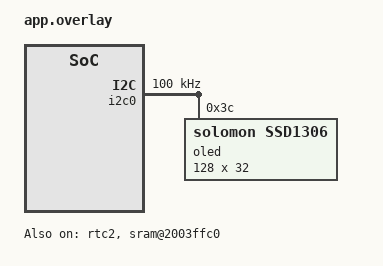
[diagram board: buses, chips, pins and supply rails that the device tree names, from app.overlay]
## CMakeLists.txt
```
cmake_minimum_required(VERSION 3.20.0)

find_package(Zephyr REQUIRED HINTS $ENV{ZEPHYR_BASE})
project(nrfnode)

target_sources(app PRIVATE
  src/main.cpp
  src/button_handler.cpp
  src/rtc_clock.cpp
  src/alarm.cpp
  src/storage.cpp
  src/devices.cpp
)

target_include_directories(app PRIVATE src)
```

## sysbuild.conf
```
# Aktiverar MCUboot som bootloader-image via sysbuild, förberett för
# framtida FOTA. Applikationens image blir signerad/swap-baserad från start.
SB_CONFIG_BOOTLOADER_MCUBOOT=y
```

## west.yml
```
# West manifest for this freestanding NCS application.
# Pinned to the latest stable NCS release selected for this workspace.
manifest:
  remotes:
    - name: ncs
      url-base: https://github.com/nrfconnect

  projects:
    - name: nrf
      remote: ncs
      repo-path: sdk-nrf
      revision: v3.4.0
      import: true
```

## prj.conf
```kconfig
# --- Knappar ---
CONFIG_GPIO=y
CONFIG_DK_LIBRARY=y

# --- I2C (PAN1780 OLED bring-up) ---
CONFIG_I2C=y
CONFIG_DISPLAY=y
CONFIG_SSD1306=y
CONFIG_CHARACTER_FRAMEBUFFER=y
CONFIG_HEAP_MEM_POOL_SIZE=2048

# --- RTC (klocka) ---
CONFIG_COUNTER=y
CONFIG_EVENTS=y

# --- Alarm (lagras i flash via NVS) ---
CONFIG_FLASH=y
CONFIG_FLASH_MAP=y
CONFIG_FLASH_PAGE_LAYOUT=y
CONFIG_NVS=y
CONFIG_SETTINGS=y
CONFIG_SETTINGS_NVS=y
CONFIG_MAIN_STACK_SIZE=4096
CONFIG_RETAINED_MEM=y
CONFIG_CRC=y

# --- Loggning / debug ---
CONFIG_SERIAL=y
CONFIG_CONSOLE=y
CONFIG_UART_CONSOLE=y
CONFIG_PRINTK=y
CONFIG_LOG=y
CONFIG_LOG_BACKEND_UART=y
CONFIG_LOG_BACKEND_UART_AUTOSTART=y
CONFIG_ASSERT=y
CONFIG_CHARACTER_FRAMEBUFFER_USE_DEFAULT_FONTS=n
```

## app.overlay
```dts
#include <zephyr/dt-bindings/i2c/i2c.h>

&i2c0 {
	status = "okay";
	clock-frequency = <I2C_BITRATE_STANDARD>;

	oled: ssd1306@3c {
		compatible = "solomon,ssd1306";
		reg = <0x3c>;
		width = <128>;
		height = <32>;
		segment-offset = <0>;
		page-offset = <0>;
		display-offset = <0>;
		multiplex-ratio = <31>;
		segment-remap;
		com-invdir;
		com-sequential;
		prechargep = <0x22>;
	};
};

&sram0 {
	reg = <0x20000000 DT_SIZE_K(252)>;
};

/ {
	sram@2003ffc0 {
		compatible = "zephyr,memory-region", "mmio-sram";
		reg = <0x2003ffc0 0x40>;
		ranges = <0x0 0x2003ffc0 0x40>;
		zephyr,memory-region = "RetainedMem";
		status = "okay";
		#address-cells = <1>;
		#size-cells = <1>;

		retainedmem0: retainedmem {
			compatible = "zephyr,retained-ram";
			status = "okay";
			ranges;
			#address-cells = <1>;
			#size-cells = <1>;
		};
	};
};

&rtc2 {
	status = "okay";
};

/ {
	chosen {
		zephyr,display = &oled;
	};
};
```

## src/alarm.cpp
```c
#include "alarm.h"

#include "storage.h"

#include <cerrno>

namespace {

constexpr uint16_t kNvsId = 1;
constexpr uint16_t kNvsDefaultModeId = 2;
constexpr uint32_t kSecondsPerDay = 86400U;

bool g_loaded;
Alarm g_alarms[kAlarmCount];

bool Valid(const Alarm &alarm)
{
	return alarm.hour < 24 && alarm.minute < 60 && (alarm.days & ~kAlarmAllDays) == 0 &&
	       alarm.enabled <= 1;
}

void SetDefaults()
{
	for (Alarm &alarm : g_alarms) {
		alarm = {7, 0, 0x1F, 0}; // 07:00 måndag-fredag, avstängt
	}
}

} // namespace

int AlarmsInit()
{
	SetDefaults();

	const int err = StorageInit();

	if (err) {
		return err;
	}

	Alarm stored[kAlarmCount];
	const int read = StorageRead(kNvsId, stored, sizeof(stored));

	if (read == static_cast<int>(sizeof(stored))) {
		bool all_valid = true;

		for (const Alarm &alarm : stored) {
			all_valid = all_valid && Valid(alarm);
		}
		if (all_valid) {
			for (int i = 0; i < kAlarmCount; i++) {
				g_alarms[i] = stored[i];
			}
			g_loaded = true;
		}
	}

	return 0;
}

bool AlarmsWereLoaded()
{
	return g_loaded;
}

Alarm *AlarmAt(int index)
{
	return &g_alarms[index];
}

int AlarmsSave()
{
	return StorageWrite(kNvsId, g_alarms, sizeof(g_alarms));
}

int NvsReadBlob(uint16_t id, void *data, size_t len)
{
	return StorageRead(id, data, len);
}

int NvsWriteBlob(uint16_t id, const void *data, size_t len)
{
	return StorageWrite(id, data, len);
}

uint8_t DefaultModeLoad()
{
	uint8_t mode = 0;

	if (StorageRead(kNvsDefaultModeId, &mode, sizeof(mode)) != static_cast<int>(sizeof(mode))) {
		return 0;
	}

	return mode;
}

int DefaultModeSave(uint8_t mode)
{
	return StorageWrite(kNvsDefaultModeId, &mode, sizeof(mode));
}

int AlarmsMatch(uint32_t unix_time)
{
	const uint32_t tod = unix_time % kSecondsPerDay;
	const unsigned int hour = tod / 3600U;
	const unsigned int minute = (tod / 60U) % 60U;
	// 1970-01-01 var en torsdag; 0 = måndag.
	const unsigned int weekday = (unix_time / kSecondsPerDay + 3U) % 7U;

	for (int i = 0; i < kAlarmCount; i++) {
		const Alarm &alarm = g_alarms[i];

		if (alarm.enabled && alarm.hour == hour && alarm.minute == minute &&
		    (alarm.days & (1U << weekday))) {
			return i;
		}
	}

	return -1;
}
```

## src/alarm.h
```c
#pragma once

#include <cstddef>
#include <cstdint>

constexpr int kAlarmCount = 5;

struct Alarm {
	uint8_t hour;    // 0-23
	uint8_t minute;  // 0-59
	uint8_t days;    // bit 0 = måndag ... bit 6 = söndag
	uint8_t enabled; // 0 eller 1
};

constexpr uint8_t kAlarmAllDays = 0x7F;

// Monterar NVS i storage-partitionen och läser alarmen.
// Returnerar 0 vid lyckad montering; vid tomt/ogiltigt innehåll används standardvärden.
int AlarmsInit();

// Sant om alarmen lästes från flash i stället för att standardvärden användes.
bool AlarmsWereLoaded();

// Pekare till alarm 0..kAlarmCount-1 som kan ändras direkt.
Alarm *AlarmAt(int index);

// Skriver alarmen till flash. NVS skriver inget om innehållet är oförändrat,
// så anropet kan göras utan att slita på flashen. Returnerar 0 eller negativ errno.
int AlarmsSave();

// Första aktiva alarm (index) som matchar tid och veckodag, annars -1.
int AlarmsMatch(uint32_t unix_time);

// Rå läs/skriv mot samma NVS för andra moduler. Returnerar antal bytes (läs), 0 (skriv) eller negativ errno.
int NvsReadBlob(uint16_t id, void *data, size_t len);
int NvsWriteBlob(uint16_t id, const void *data, size_t len);

// Standardvisningsläget lagras i samma NVS. Load returnerar 0 om inget sparats.
uint8_t DefaultModeLoad();
int DefaultModeSave(uint8_t mode);
```

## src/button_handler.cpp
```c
#include "button_handler.h"

#include <dk_buttons_and_leds.h>
#include <zephyr/logging/log.h>

LOG_MODULE_REGISTER(button_handler, LOG_LEVEL_INF);

namespace {
ButtonStateChangedCallback g_callback;
uint8_t g_state;
struct button_handler g_button_handler = {};

void OnButtonChanged(uint32_t button_state, uint32_t has_changed)
{
	// dk_buttons_and_leds mappar knapp N till bit N, i linje med
	// pan1780_evb-aliasen sw0..sw3 och led0..led3.
	g_state = static_cast<uint8_t>(button_state & 0x0F);

	const int err = dk_set_leds(g_state);
	if (err) {
		LOG_ERR("dk_set_leds failed (err %d)", err);
	}

	if (g_callback && (has_changed & 0x0F)) {
		g_callback(g_state);
	}
}
} // namespace

int ButtonHandlerInit(ButtonStateChangedCallback callback)
{
	g_callback = callback;

	int err = dk_leds_init();
	if (err) {
		return err;
	}

	err = dk_set_leds(0);
	if (err) {
		return err;
	}

	return dk_buttons_init(OnButtonChanged);
}

int ButtonHandlerAttach(ButtonStateChangedCallback callback)
{
	g_callback = callback;
	g_button_handler.cb = OnButtonChanged;
	dk_button_handler_add(&g_button_handler);

	int err = dk_leds_init();
	if (err) {
		LOG_ERR("dk_leds_init failed (err %d)", err);
		return err;
	}

	err = dk_set_leds(0);
	if (err) {
		LOG_ERR("dk_set_leds failed (err %d)", err);
	}

	return err;
}

uint8_t ButtonHandlerGetState()
{
	return g_state;
}
```

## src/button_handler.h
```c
#pragma once

#include <cstdint>

// Antal fysiska knappar på PAN1780 EVK.
constexpr uint8_t kButtonCount = 4;

// Callback som anropas varje gång knapp-bitmasken ändras.
// Bit N (0-3) = knapp N+1, 1 = intryckt.
using ButtonStateChangedCallback = void (*)(uint8_t bitmask);

// Initierar GPIO-callbacks för de 4 knapparna på EVK:t.
// Returnerar 0 vid lyckad initiering, annars en negativ errno-kod.
int ButtonHandlerInit(ButtonStateChangedCallback callback);

// Registers the callback after the Matter board has initialized DK buttons and LEDs.
int ButtonHandlerAttach(ButtonStateChangedCallback callback);

// Läser nuvarande bitmask (t.ex. för att skicka initial status).
uint8_t ButtonHandlerGetState();
```

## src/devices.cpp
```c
#include "devices.h"

#include "alarm.h"
#include "rtc_clock.h"
#include "storage.h"

#include <cerrno>
#include <cstring>

#include <zephyr/drivers/retained_mem.h>
#include <zephyr/kernel.h>
#include <zephyr/sys/crc.h>
#include <zephyr/sys/printk.h>

namespace {

constexpr uint16_t kNvsDevicesId = 3;
// Offset 0..11 används av rtc_clock.
constexpr size_t kSensorRetainedOffset = 16;
constexpr size_t kCodeSize = kPairingCodeDigits + 1;
constexpr uint32_t kSensorSnapshotMagic = 0x534E5331U;
constexpr uint32_t kSensorStaleSeconds = 15U * 60U;

char g_codes[kDeviceCount][kCodeSize];

struct SensorSnapshot {
	uint32_t magic;
	int16_t temperature_centi;
	uint16_t humidity_centi;
	uint32_t temperature_timestamp;
	uint32_t humidity_timestamp;
	uint8_t valid;
	uint8_t reserved[3];
};

// Senaste värdet ligger bara i retained RAM (överlever reset, aldrig flash).
struct RetainedSensor {
	SensorSnapshot snapshot;
	uint32_t crc;
};

const struct device *const kRetained = DEVICE_DT_GET(DT_NODELABEL(retainedmem0));

uint32_t SensorCrc(const SensorSnapshot &snapshot)
{
	return crc32_ieee(reinterpret_cast<const uint8_t *>(&snapshot), sizeof(snapshot));
}

SensorSnapshot g_sensor = {kSensorSnapshotMagic, 0, 0, 0, 0, 0, {0, 0, 0}};
K_MUTEX_DEFINE(g_sensor_mutex);

const uint8_t kD[10][10] = {
	{0, 1, 2, 3, 4, 5, 6, 7, 8, 9}, {1, 2, 3, 4, 0, 6, 7, 8, 9, 5},
	{2, 3, 4, 0, 1, 7, 8, 9, 5, 6}, {3, 4, 0, 1, 2, 8, 9, 5, 6, 7},
	{4, 0, 1, 2, 3, 9, 5, 6, 7, 8}, {5, 9, 8, 7, 6, 0, 4, 3, 2, 1},
	{6, 5, 9, 8, 7, 1, 0, 4, 3, 2}, {7, 6, 5, 9, 8, 2, 1, 0, 4, 3},
	{8, 7, 6, 5, 9, 3, 2, 1, 0, 4}, {9, 8, 7, 6, 5, 4, 3, 2, 1, 0}};

const uint8_t kP[8][10] = {
	{0, 1, 2, 3, 4, 5, 6, 7, 8, 9}, {1, 5, 7, 6, 2, 8, 3, 0, 9, 4},
	{5, 8, 0, 3, 7, 9, 6, 1, 4, 2}, {8, 9, 1, 6, 0, 4, 3, 5, 2, 7},
	{9, 4, 5, 3, 1, 2, 6, 8, 7, 0}, {4, 2, 8, 6, 5, 7, 3, 9, 0, 1},
	{2, 7, 9, 3, 8, 0, 6, 4, 1, 5}, {7, 0, 4, 6, 9, 1, 3, 2, 5, 8}};

}

bool PairingCodeValid(const char *code)
{
	if (strlen(code) != kPairingCodeDigits) {
		return false;
	}

	uint8_t check = 0;
	bool all_zero = true;

	for (int i = 0; i < kPairingCodeDigits; i++) {
		const char c = code[kPairingCodeDigits - 1 - i];

		if (c < '0' || c > '9') {
			return false;
		}
		all_zero = all_zero && c == '0';
		check = kD[check][kP[i % 8][c - '0']];
	}

	// Koder utan VID/PID har första siffran 0-3.
	return check == 0 && !all_zero && code[0] <= '3';
}

void DevicesInit()
{
	memset(g_codes, 0, sizeof(g_codes));

	char stored[kDeviceCount][kCodeSize];

	if (NvsReadBlob(kNvsDevicesId, stored, sizeof(stored)) == static_cast<int>(sizeof(stored))) {
		for (int i = 0; i < kDeviceCount; i++) {
			stored[i][kCodeSize - 1] = '\0';
			if (PairingCodeValid(stored[i])) {
				memcpy(g_codes[i], stored[i], kCodeSize);
			}
		}
	}

	RetainedSensor retained;
	if (device_is_ready(kRetained) &&
	    retained_mem_read(kRetained, kSensorRetainedOffset,
			      reinterpret_cast<uint8_t *>(&retained), sizeof(retained)) == 0 &&
	    retained.snapshot.magic == kSensorSnapshotMagic &&
	    retained.crc == SensorCrc(retained.snapshot) &&
	    (retained.snapshot.valid & ~0x03U) == 0) {
		const SensorSnapshot &snapshot = retained.snapshot;
		k_mutex_lock(&g_sensor_mutex, K_FOREVER);
		g_sensor = snapshot;
		k_mutex_unlock(&g_sensor_mutex);
		printk("SENSOR cache temp_valid=%u temp_centi=%d temp_timestamp=%u "
		       "humidity_valid=%u humidity_centi=%u humidity_timestamp=%u\r\n",
		       (snapshot.valid & 0x01U) ? 1U : 0U, snapshot.temperature_centi,
		       static_cast<unsigned>(snapshot.temperature_timestamp),
		       (snapshot.valid & 0x02U) ? 1U : 0U,
		       static_cast<unsigned>(snapshot.humidity_centi),
		       static_cast<unsigned>(snapshot.humidity_timestamp));
	}
}

const char *DeviceCode(int slot)
{
	return g_codes[slot];
}

int DeviceCodeSave(int slot, const char *code)
{
	if (slot < 0 || slot >= kDeviceCount || !PairingCodeValid(code)) {
		return -EINVAL;
	}

	char updated[kDeviceCount][kCodeSize];

	memcpy(updated, g_codes, sizeof(updated));
	memcpy(updated[slot], code, kCodeSize);

	const int err = NvsWriteBlob(kNvsDevicesId, updated, sizeof(updated));

	if (err) {
		return err;
	}

	memcpy(g_codes, updated, sizeof(g_codes));
	return 0;
}

bool DeviceCommissioned(int slot)
{
	(void)slot;
	return false;
}

SensorReading SensorGet(int slot, uint32_t unix_time)
{
	(void)slot;
	SensorSnapshot snapshot;
	k_mutex_lock(&g_sensor_mutex, K_FOREVER);
	snapshot = g_sensor;
	k_mutex_unlock(&g_sensor_mutex);

	const bool temperature_valid = (snapshot.valid & 0x01U) != 0;
	const bool humidity_valid = (snapshot.valid & 0x02U) != 0;
	const bool temperature_stale = !temperature_valid ||
		unix_time < snapshot.temperature_timestamp ||
		unix_time - snapshot.temperature_timestamp >= kSensorStaleSeconds;
	const bool humidity_stale = !humidity_valid ||
		unix_time < snapshot.humidity_timestamp ||
		unix_time - snapshot.humidity_timestamp >= kSensorStaleSeconds;
	const int temperature_dc = snapshot.temperature_centi >= 0
		? (snapshot.temperature_centi + 5) / 10
		: (snapshot.temperature_centi - 5) / 10;

	return {static_cast<int16_t>(temperature_dc),
		static_cast<uint8_t>((snapshot.humidity_centi + 50U) / 100U),
		temperature_valid, humidity_valid, temperature_stale, humidity_stale};
}

namespace {

void SaveSensorSnapshot()
{
	SensorSnapshot snapshot;
	k_mutex_lock(&g_sensor_mutex, K_FOREVER);
	snapshot = g_sensor;
	k_mutex_unlock(&g_sensor_mutex);

	RetainedSensor retained = {snapshot, SensorCrc(snapshot)};
	if (!device_is_ready(kRetained) ||
	    retained_mem_write(kRetained, kSensorRetainedOffset,
			       reinterpret_cast<const uint8_t *>(&retained),
			       sizeof(retained)) != 0) {
		printk("ERROR sensor_retain\r\n");
	}
}

} // namespace

void SensorUpdateTemperature(int16_t value_centi, uint32_t timestamp)
{
	k_mutex_lock(&g_sensor_mutex, K_FOREVER);
	if ((g_sensor.valid & 0x01U) != 0 &&
	    g_sensor.temperature_centi == value_centi) {
		g_sensor.temperature_timestamp = timestamp;
	} else {
		g_sensor.temperature_centi = value_centi;
		g_sensor.temperature_timestamp = timestamp;
		g_sensor.valid |= 0x01U;
	}
	k_mutex_unlock(&g_sensor_mutex);
	SaveSensorSnapshot();
}

void SensorUpdateHumidity(uint16_t value_centi, uint32_t timestamp)
{
	k_mutex_lock(&g_sensor_mutex, K_FOREVER);
	if ((g_sensor.valid & 0x02U) != 0 &&
	    g_sensor.humidity_centi == value_centi) {
		g_sensor.humidity_timestamp = timestamp;
	} else {
		g_sensor.humidity_centi = value_centi;
		g_sensor.humidity_timestamp = timestamp;
		g_sensor.valid |= 0x02U;
	}
	k_mutex_unlock(&g_sensor_mutex);
	SaveSensorSnapshot();
}
```

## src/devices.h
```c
#pragma once

#include <cstdint>

constexpr int kDeviceCount = 4;
constexpr int kPairingCodeDigits = 11;

// Matter manuell parningskod: 11 siffror där sista är Verhoeff-kontrollsiffra.
bool PairingCodeValid(const char *code);

// Läser sparade koder ur NVS (efter AlarmsInit). Tomma platser får tom sträng.
void DevicesInit();

// Pekare till platsens kod (NUL-terminerad, 11 siffror eller tom sträng).
const char *DeviceCode(int slot);

// Sparar koden i NVS. Returnerar 0, -EINVAL för ogiltig kod eller negativ errno.
int DeviceCodeSave(int slot, const char *code);

// Sant när enheten är commissionerad (Matter är inte implementerat än, så alltid falskt).
bool DeviceCommissioned(int slot);

struct SensorReading {
	int16_t temperature_dc; // 0,1 °C
	uint8_t humidity_pct;
	bool temperature_valid;
	bool humidity_valid;
	bool temperature_stale;
	bool humidity_stale;
};

// Senaste värdena sparas i en enda settings-post med varsin UTC-tidsstämpel.
// Historiska mätvärden lagras inte.
void SensorUpdateTemperature(int16_t value_centi, uint32_t timestamp);
void SensorUpdateHumidity(uint16_t value_centi, uint32_t timestamp);

// Returnerar senaste cachelagrade värden; de blir stale efter 15 minuter.
SensorReading SensorGet(int slot, uint32_t unix_time);
```

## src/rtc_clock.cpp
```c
#include "rtc_clock.h"

#include <zephyr/device.h>
#include <zephyr/drivers/counter.h>
#include <zephyr/drivers/retained_mem.h>
#include <zephyr/sys/crc.h>
#include <zephyr/spinlock.h>

#include <cstddef>

namespace {

const struct device *const kRtc = DEVICE_DT_GET(DT_NODELABEL(rtc2));

struct k_spinlock g_lock;
uint32_t g_unix_time;

// BehÃ¥ller en post med unix-tid i retained RAM (Ã¶verlever reset, inte spÃ¤nningsbortfall).
// Skrivningar till RAM slits inte som flash, sÃ¥ posten kan uppdateras varje sekund.
struct RetainedTime {
	uint32_t magic;
	uint32_t unix_time;
	uint32_t crc;
};

constexpr uint32_t kRetainedMagic = 0x52544331U; // "RTC1"

const struct device *const kRetained = DEVICE_DT_GET(DT_NODELABEL(retainedmem0));

bool g_restored;

uint32_t RetainedCrc(const RetainedTime &entry)
{
	return crc32_ieee(reinterpret_cast<const uint8_t *>(&entry), offsetof(RetainedTime, crc));
}

bool LoadRetained(uint32_t *unix_time)
{
	RetainedTime entry;

	if (!device_is_ready(kRetained) ||
	    retained_mem_read(kRetained, 0, reinterpret_cast<uint8_t *>(&entry), sizeof(entry)) != 0) {
		return false;
	}

	if (entry.magic != kRetainedMagic || entry.crc != RetainedCrc(entry)) {
		return false;
	}

	*unix_time = entry.unix_time;
	return true;
}

void OnSecondTick(const struct device *, void *)
{
	K_SPINLOCK(&g_lock) {
		g_unix_time++;
	}
}

} // namespace

int RtcClockInit(uint32_t initial_unix_time)
{
	if (!device_is_ready(kRtc)) {
		return -ENODEV;
	}

	uint32_t restored = 0;

	g_restored = LoadRetained(&restored);
	g_unix_time = g_restored ? restored : initial_unix_time;

	// RTC:n rÃ¤knar 32768 Hz frÃ¥n LFCLK; top-vÃ¤rdet gÃ¶r att den lÃ¶per Ã¶ver en gÃ¥ng per sekund.
	struct counter_top_cfg top = {};
	top.ticks = counter_get_frequency(kRtc);
	top.callback = OnSecondTick;

	int err = counter_set_top_value(kRtc, &top);
	if (err) {
		return err;
	}

	return counter_start(kRtc);
}

uint32_t RtcClockGet()
{
	k_spinlock_key_t key = k_spin_lock(&g_lock);
	const uint32_t value = g_unix_time;

	k_spin_unlock(&g_lock, key);
	return value;
}

void RtcClockSet(uint32_t unix_time)
{
	K_SPINLOCK(&g_lock) {
		g_unix_time = unix_time;
	}
}

void RtcClockAdjust(int32_t delta_seconds)
{
	K_SPINLOCK(&g_lock) {
		g_unix_time += static_cast<uint32_t>(delta_seconds);
	}
}

bool RtcClockWasRestored()
{
	return g_restored;
}

void RtcClockPersist()
{
	RetainedTime entry = {};

	entry.magic = kRetainedMagic;
	entry.unix_time = RtcClockGet();
	entry.crc = RetainedCrc(entry);

	if (device_is_ready(kRetained)) {
		retained_mem_write(kRetained, 0, reinterpret_cast<const uint8_t *>(&entry),
				   sizeof(entry));
	}
}
```

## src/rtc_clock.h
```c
#pragma once

#include <cstdint>

// Startar RTC2 med en tick per sekund och räknar upp en UINT32 unix-timestamp (UTC).
// Returnerar 0 vid lyckad start, annars en negativ errno-kod.
int RtcClockInit(uint32_t initial_unix_time);

// Aktuell unix-timestamp i sekunder.
uint32_t RtcClockGet();

// Sätter unix-timestamp direkt.
void RtcClockSet(uint32_t unix_time);

// Lägger till ett signerat antal sekunder atomärt mot sekundtickens avbrott.
void RtcClockAdjust(int32_t delta_seconds);

// True om starttiden återställdes från retained RAM i stället för initialvärdet.
bool RtcClockWasRestored();

// Sparar nuvarande tid i retained RAM (RAM, inte flash, så den kan anropas varje sekund).
void RtcClockPersist();
```

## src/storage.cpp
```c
#include "storage.h"

#include <zephyr/device.h>
#include <zephyr/drivers/flash.h>
#include <zephyr/fs/nvs.h>
#include <zephyr/settings/settings.h>
#include <zephyr/storage/flash_map.h>

#include <cerrno>
#include <cstdio>
#include <cstdlib>
#include <cstring>

namespace {

constexpr size_t kMaxBlob = 64;
constexpr int kBlobCount = 4;
constexpr int kLegacyBlobCount = 3;
constexpr uint16_t kLegacyIds[kBlobCount] = {1, 2, 3, 4};

struct Blob {
	uint16_t id;
	uint8_t data[kMaxBlob];
	int len; // -1 = saknas
};

Blob g_blobs[kBlobCount];
bool g_ready;
bool g_migrated;

Blob *Find(uint16_t id)
{
	for (Blob &blob : g_blobs) {
		if (blob.id == id) {
			return &blob;
		}
	}
	return nullptr;
}

int OnSetting(const char *key, size_t len, settings_read_cb read_cb, void *cb_arg, void *param)
{
	(void)param;

	Blob *blob = Find(static_cast<uint16_t>(strtoul(key, nullptr, 10)));

	if (blob == nullptr || len > kMaxBlob) {
		return 0;
	}

	const ssize_t read = read_cb(cb_arg, blob->data, len);

	blob->len = read > 0 ? static_cast<int>(read) : -1;
	return 0;
}

// Läser gamla råa NVS-poster (3 sektorer från partitionens början) innan settings tar över.
void ReadLegacy(Blob *legacy)
{
	const struct flash_area *area;

	if (flash_area_open(FIXED_PARTITION_ID(storage_partition), &area)) {
		return;
	}

	nvs_fs fs = {};
	struct flash_pages_info info;

	fs.flash_device = area->fa_dev;
	fs.offset = area->fa_off;
	const int err = flash_get_page_info_by_offs(fs.flash_device, fs.offset, &info);

	flash_area_close(area);
	if (err) {
		return;
	}

	fs.sector_size = static_cast<uint16_t>(info.size);
	fs.sector_count = 3;
	if (nvs_mount(&fs)) {
		return;
	}

	for (int i = 0; i < kLegacyBlobCount; i++) {
		const ssize_t read = nvs_read(&fs, legacy[i].id, legacy[i].data, kMaxBlob);

		legacy[i].len = read > 0 ? static_cast<int>(read) : -1;
	}
}

} // namespace

int StorageInit()
{
	if (g_ready) {
		return 0;
	}

	Blob legacy[kBlobCount];

	for (int i = 0; i < kBlobCount; i++) {
		g_blobs[i] = {kLegacyIds[i], {}, -1};
	}
	for (int i = 0; i < kLegacyBlobCount; i++) {
		legacy[i] = {kLegacyIds[i], {}, -1};
	}

	ReadLegacy(legacy);

	int err = settings_subsys_init();

	if (err) {
		return err;
	}

	err = settings_load_subtree_direct("nrfnode", OnSetting, nullptr);
	if (err) {
		return err;
	}

	g_ready = true;

	for (int i = 0; i < kLegacyBlobCount; i++) {
		if (g_blobs[i].len < 0 && legacy[i].len > 0) {
			memcpy(g_blobs[i].data, legacy[i].data, static_cast<size_t>(legacy[i].len));
			g_blobs[i].len = legacy[i].len;
			if (StorageWrite(g_blobs[i].id, g_blobs[i].data,
					 static_cast<size_t>(g_blobs[i].len)) == 0) {
				g_migrated = true;
			}
		}
	}

	return 0;
}

bool StorageMigrated()
{
	return g_migrated;
}

int StorageRead(uint16_t id, void *data, size_t len)
{
	const Blob *blob = Find(id);

	if (!g_ready || blob == nullptr || blob->len < 0) {
		return -ENOENT;
	}

	const size_t n = static_cast<size_t>(blob->len) < len ? static_cast<size_t>(blob->len) : len;

	memcpy(data, blob->data, n);
	return static_cast<int>(n);
}

int StorageWrite(uint16_t id, const void *data, size_t len)
{
	Blob *blob = Find(id);

	if (!g_ready || blob == nullptr || len > kMaxBlob) {
		return -ENODEV;
	}

	char key[16];

	snprintf(key, sizeof(key), "nrfnode/%u", static_cast<unsigned int>(id));

	const int err = settings_save_one(key, data, len);

	if (err) {
		return err;
	}

	memcpy(blob->data, data, len);
	blob->len = static_cast<int>(len);
	return 0;
}
```

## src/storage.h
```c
#pragma once

#include <cstddef>
#include <cstdint>

// Monterar Zephyrs settings (samma storage_partition som Matter använder) och flyttar vid första
// starten över äldre råa NVS-poster (id 1 = alarm, 2 = standardläge, 3 = enhetskoder).
// Returnerar 0 eller negativ errno.
int StorageInit();

// Sant om data migrerades från rå NVS vid den här starten.
bool StorageMigrated();

// Läser blob med givet id. Returnerar antal bytes, eller negativ errno (-ENOENT om saknas).
int StorageRead(uint16_t id, void *data, size_t len);

// Skriver blob med givet id. Returnerar 0 eller negativ errno.
int StorageWrite(uint16_t id, const void *data, size_t len);
```
